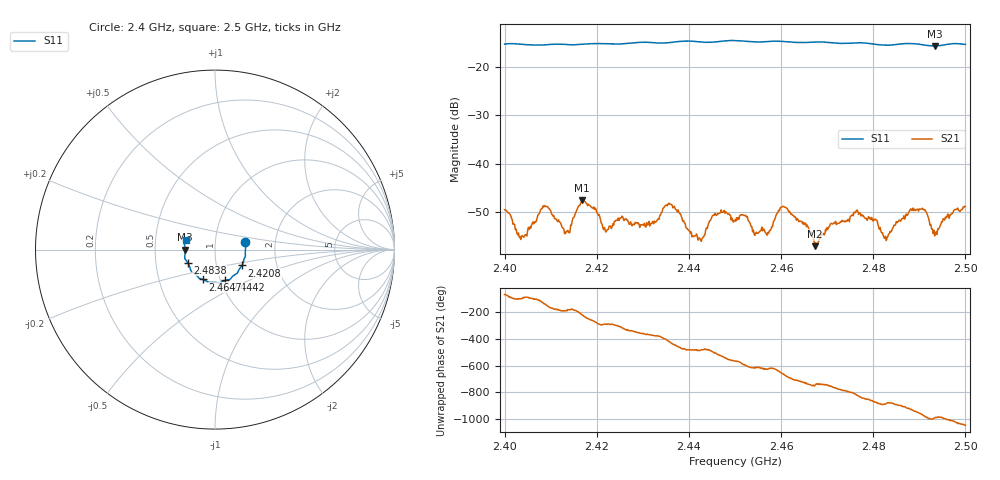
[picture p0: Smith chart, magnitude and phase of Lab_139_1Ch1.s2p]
# Hz S RI R 50
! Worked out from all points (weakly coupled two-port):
!   601 points, 2.4 GHz to 2.5 GHz, reference 50 ohm
!   highest |S21| = -47.65 dB at 2.4168 GHz (marker M1); lowest = -57.1 dB at 2.4673 GHz (marker M2)
!   lowest |S11| = -15.6 dB at 2.4933 GHz (marker M3), VSWR 1.40, Z = 35.8 + j0.0347 ohm
!   |S11| at or under -10 dB: start of sweep to end of sweep
!   S12 and S22 are empty: the file has one direction only
!   S11 on the Smith chart (normalised r, x): 2.4 GHz: 1.40, +0.12; 2.4208 GHz: 1.33, -0.24; 2.4442 GHz: 1.05, -0.37; 2.4647 GHz: 0.83, -0.29; 2.4838 GHz: 0.73, -0.11; 2.5 GHz: 0.72, +0.08
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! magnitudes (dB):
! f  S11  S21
! 2.4 GHz  -15.2  -49.6
! 2.4037 GHz  -15.3  -55.1
! 2.4088 GHz  -15.4  -48.9
! 2.4137 GHz  -15.3  -53.9
! 2.4167 GHz  -15.3  -48.0
! 2.4168 GHz  -15.3  -47.7
! 2.4208 GHz  -15.1  -51.8
! 2.4333 GHz  -15.0  -51.4
! 2.4358 GHz  -14.9  -48.5
! 2.4423 GHz  -14.8  -55.4
! 2.4442 GHz  -14.9  -52.7
! 2.45 GHz  -14.5  -51.7
! 2.4605 GHz  -14.7  -48.9
! 2.4647 GHz  -14.9  -52.5
! 2.4667 GHz  -14.8  -55.0
! 2.4673 GHz  -14.8  -57.1
! 2.4763 GHz  -15.0  -49.8
! 2.4833 GHz  -15.5  -54.6
! 2.4838 GHz  -15.4  -54.2
! 2.4905 GHz  -15.4  -49.4
! 2.4933 GHz  -15.6  -55.0
! 2.5 GHz  -15.3  -48.9
